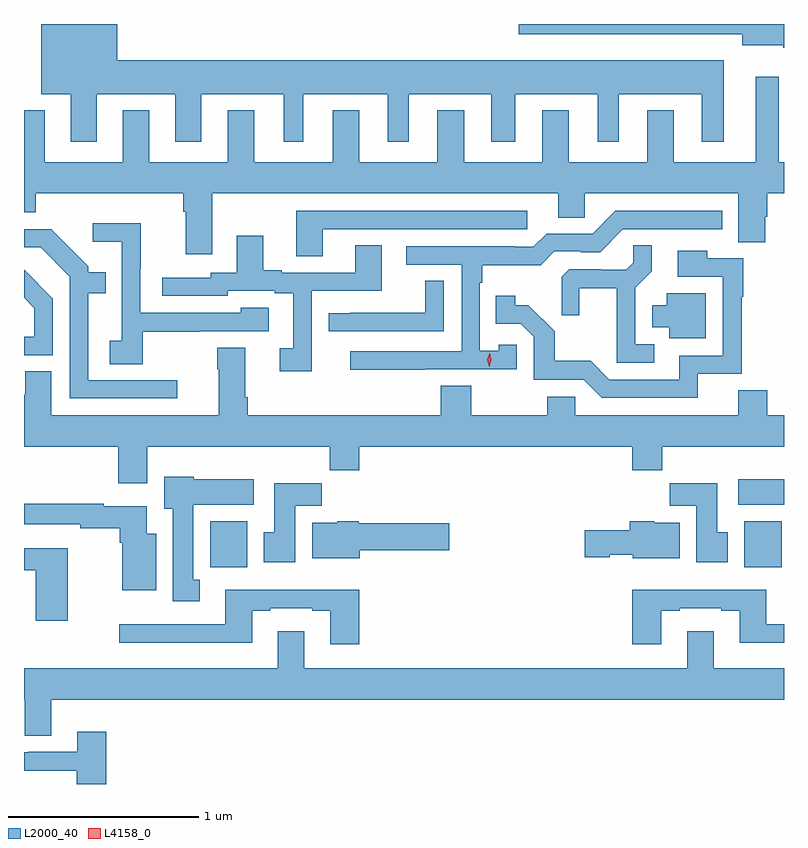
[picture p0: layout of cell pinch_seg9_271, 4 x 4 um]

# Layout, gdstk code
import gdstk
lib = gdstk.Library(unit=1e-6, precision=1e-09)
def R(c, l, rs):  # rectangles x0, y0, x1, y1
    for r in rs: c.add(gdstk.rectangle(r[:2], r[2:], *l))
def P(c, l, *ps):  # polygons
    for p in ps: c.add(gdstk.Polygon(p, *l))
L2000_40 = (2000, 40)
L4158_0 = (4158, 0)

pinch_seg9_271 = lib.new_cell('pinch_seg9_271')
R(pinch_seg9_271, L2000_40, [(395.576,1183.796,395.773,1184.038), (398.387,1183.796,398.584,1184.038), (398.355,1184.126,398.597,1184.26)])
P(pinch_seg9_271, L2000_40, [(398.597,1186.656),(397.2,1186.656),(397.2,1186.601),(398.378,1186.601),(398.378,1186.544),(398.592,1186.544),(398.592,1186.532),(398.597,1186.532)],
  [(394.981,1186.286),(395.393,1186.286),(395.393,1186.035),(395.53,1186.035),(395.53,1186.286),(395.963,1186.286),(395.963,1186.035),(396.067,1186.035),(396.067,1186.286),(396.512,1186.286),(396.512,1186.035),(396.622,1186.035),(396.622,1186.286),(397.055,1186.286),(397.055,1186.035),(397.183,1186.035),(397.183,1186.286),(397.616,1186.286),(397.616,1186.035),(397.726,1186.035),(397.726,1186.286),(398.165,1186.286),(398.165,1186.035),(398.281,1186.035),(398.281,1186.465),(395.089,1186.465),(395.089,1186.656),(394.688,1186.656),(394.688,1186.286),(394.844,1186.286),(394.844,1186.035),(394.981,1186.035)],
  [(397.409,1185.637),(397.548,1185.637),(397.548,1185.764),(398.357,1185.764),(398.357,1185.508),(398.497,1185.508),(398.497,1185.642),(398.51,1185.642),(398.51,1185.764),(398.597,1185.764),(398.597,1185.928),(398.569,1185.928),(398.569,1186.378),(398.447,1186.378),(398.447,1185.928),(398.017,1185.928),(398.017,1186.201),(397.877,1186.201),(397.877,1185.928),(397.465,1185.928),(397.465,1186.201),(397.325,1186.201),(397.325,1185.928),(396.913,1185.928),(396.913,1186.201),(396.773,1186.201),(396.773,1185.928),(396.361,1185.928),(396.361,1186.201),(396.221,1186.201),(396.221,1185.928),(395.809,1185.928),(395.809,1186.201),(395.669,1186.201),(395.669,1185.928),(395.257,1185.928),(395.257,1186.201),(395.117,1186.201),(395.117,1185.928),(394.705,1185.928),(394.705,1186.201),(394.597,1186.201),(394.597,1185.665),(394.658,1185.665),(394.658,1185.764),(395.435,1185.764),(395.435,1185.668),(395.447,1185.668),(395.447,1185.444),(395.587,1185.444),(395.587,1185.764),(397.409,1185.764)],
  [(396.707,1184.838),(397.191,1184.838),(397.191,1184.967),(397.095,1184.967),(397.095,1184.935),(396.996,1184.935),(396.996,1185.293),(397.009,1185.293),(397.009,1185.386),(397.316,1185.386),(397.389,1185.459),(397.528,1185.459),(397.528,1185.456),(397.629,1185.456),(397.749,1185.576),(398.272,1185.576),(398.272,1185.672),(397.71,1185.672),(397.59,1185.552),(397.347,1185.552),(397.278,1185.483),(397.178,1185.483),(397.178,1185.486),(396.609,1185.486),(396.609,1185.39),(396.9,1185.39),(396.9,1184.934),(396.315,1184.934),(396.315,1184.836),(396.707,1184.836)],
  [(396.169,1185.576),(397.246,1185.576),(397.246,1185.672),(396.029,1185.672),(396.029,1185.433),(396.169,1185.433)],
  [(395.221,1185.037),(395.525,1185.037),(395.525,1185.039),(395.884,1185.039),(395.884,1185.163),(395.739,1185.163),(395.739,1185.135),(395.208,1185.135),(395.208,1185.368),(395.211,1185.368),(395.211,1185.607),(394.959,1185.607),(394.959,1185.509),(395.112,1185.509),(395.112,1184.988),(395.049,1184.988),(395.049,1184.866),(395.221,1184.866)],
  [(395.404,1184.781),(394.936,1184.781),(394.936,1185.24),(395.027,1185.24),(395.027,1185.349),(394.935,1185.349),(394.935,1185.381),(394.74,1185.576),(394.597,1185.576),(394.597,1185.48),(394.686,1185.48),(394.839,1185.327),(394.839,1184.685),(395.404,1184.685)],
  [(396.111,1185.252),(396.481,1185.252),(396.481,1185.491),(396.341,1185.491),(396.341,1185.348),(395.953,1185.348),(395.953,1185.361),(395.857,1185.361),(395.857,1185.541),(395.717,1185.541),(395.717,1185.348),(395.58,1185.348),(395.58,1185.321),(395.325,1185.321),(395.325,1185.225),(395.67,1185.225),(395.67,1185.252),(395.918,1185.252),(395.918,1185.24),(396.014,1185.24),(396.014,1184.949),(395.943,1184.949),(395.943,1184.829),(396.111,1184.829)],
  [(397.915,1184.97),(397.815,1184.97),(397.815,1185.269),(397.901,1185.355),(397.901,1185.491),(397.803,1185.491),(397.803,1185.4),(397.766,1185.363),(397.632,1185.363),(397.632,1185.366),(397.467,1185.366),(397.426,1185.325),(397.426,1185.123),(397.52,1185.123),(397.52,1185.266),(397.718,1185.266),(397.718,1184.874),(397.915,1184.874)],
  [(398.144,1184.814),(398.375,1184.814),(398.375,1185.22),(398.383,1185.22),(398.383,1185.423),(398.193,1185.423),(398.193,1185.463),(398.037,1185.463),(398.037,1185.327),(398.274,1185.327),(398.274,1184.91),(398.045,1184.91),(398.045,1184.784),(397.677,1184.784),(397.579,1184.883),(397.39,1184.883),(397.39,1185.038),(397.252,1185.176),(397.182,1185.176),(397.182,1185.226),(397.081,1185.226),(397.081,1185.078),(397.212,1185.078),(397.281,1185.009),(397.281,1184.784),(397.542,1184.784),(397.638,1184.688),(398.144,1184.688)],
  [(394.749,1185.211),(394.597,1185.363),(394.597,1185.215),(394.652,1185.16),(394.652,1185.01),(394.597,1185.01),(394.597,1184.913),(394.749,1184.913)],
  [(396.807,1185.305),(396.709,1185.305),(396.709,1185.135),(396.313,1185.135),(396.313,1185.134),(396.201,1185.134),(396.201,1185.039),(396.807,1185.039)],
  [(398.185,1185.238),(397.979,1185.238),(397.979,1185.175),(397.904,1185.175),(397.904,1185.059),(397.994,1185.059),(397.994,1185.002),(398.185,1185.002)],
  [(395.245,1184.432),(396.205,1184.432),(396.205,1184.308),(396.362,1184.308),(396.362,1184.432),(397.799,1184.432),(397.799,1184.308),(397.955,1184.308),(397.955,1184.432),(398.597,1184.432),(398.597,1184.596),(398.51,1184.596),(398.51,1184.729),(398.357,1184.729),(398.357,1184.596),(397.497,1184.596),(397.497,1184.694),(397.351,1184.694),(397.351,1184.596),(396.951,1184.596),(396.951,1184.753),(396.791,1184.753),(396.791,1184.596),(395.774,1184.596),(395.774,1184.692),(395.761,1184.692),(395.761,1184.953),(395.614,1184.953),(395.614,1184.84),(395.621,1184.84),(395.621,1184.596),(394.741,1184.596),(394.741,1184.828),(394.603,1184.828),(394.603,1184.706),(394.597,1184.706),(394.597,1184.432),(395.093,1184.432),(395.093,1184.238),(395.245,1184.238)],
  [(395.521,1183.73),(395.488,1183.73),(395.488,1184.126),(395.806,1184.126),(395.806,1184.26),(395.49,1184.26),(395.49,1184.272),(395.336,1184.272),(395.336,1184.106),(395.381,1184.106),(395.381,1183.617),(395.521,1183.617)],
  [(396.025,1184.12),(396.164,1184.12),(396.164,1184.239),(395.915,1184.239),(395.915,1183.98),(395.858,1183.98),(395.858,1183.824),(396.025,1183.824)],
  [(398.302,1183.98),(398.245,1183.98),(398.245,1184.239),(397.996,1184.239),(397.996,1184.12),(398.135,1184.12),(398.135,1183.824),(398.302,1183.824)],
  [(395.293,1183.972),(395.242,1183.972),(395.242,1184.118),(395.018,1184.118),(395.018,1184.131),(394.597,1184.131),(394.597,1184.022),(394.894,1184.022),(394.894,1184.002),(395.102,1184.002),(395.102,1183.925),(395.114,1183.925),(395.114,1183.676),(395.293,1183.676)],
  [(398.047,1184.032),(397.914,1184.032),(397.914,1184.038),(397.784,1184.038),(397.784,1183.992),(397.548,1183.992),(397.548,1183.85),(397.68,1183.85),(397.68,1183.862),(397.8,1183.862),(397.8,1183.844),(398.047,1183.844)],
  [(396.364,1183.886),(396.835,1183.886),(396.835,1184.028),(396.36,1184.028),(396.36,1184.038),(396.246,1184.038),(396.246,1184.032),(396.113,1184.032),(396.113,1183.844),(396.364,1183.844)],
  [(394.828,1183.896),(394.597,1183.896),(394.597,1183.78),(394.658,1183.78),(394.658,1183.515),(394.828,1183.515)],
  [(396.362,1183.678),(395.657,1183.678),(395.657,1183.497),(395.097,1183.497),(395.097,1183.4),(395.797,1183.4),(395.797,1183.569),(395.893,1183.569),(395.893,1183.581),(396.113,1183.581),(396.113,1183.569),(396.209,1183.569),(396.209,1183.392),(396.362,1183.392)],
  [(397.951,1183.569),(398.047,1183.569),(398.047,1183.581),(398.267,1183.581),(398.267,1183.569),(398.363,1183.569),(398.363,1183.4),(398.597,1183.4),(398.597,1183.497),(398.503,1183.497),(398.503,1183.678),(397.799,1183.678),(397.799,1183.392),(397.951,1183.392)],
  [(394.597,1183.1),(394.601,1183.1),(394.601,1182.91),(394.741,1182.91),(394.741,1183.1),(398.597,1183.1),(398.597,1183.264),(398.227,1183.264),(398.227,1183.459),(398.087,1183.459),(398.087,1183.264),(396.073,1183.264),(396.073,1183.459),(395.933,1183.459),(395.933,1183.264),(394.597,1183.264)],
  [(395.03,1182.931),(394.877,1182.931),(394.877,1182.825),(394.621,1182.825),(394.621,1182.822),(394.597,1182.822),(394.597,1182.726),(394.875,1182.726),(394.875,1182.656),(395.03,1182.656)])
P(pinch_seg9_271, L4158_0, [(397.045,1184.853),(397.036,1184.89),(397.047,1184.925),(397.047,1184.926),(397.047,1184.925),(397.056,1184.889),(397.046,1184.853),(397.046,1184.853)])

lib.write_gds('pinch_seg9_271.gds')
